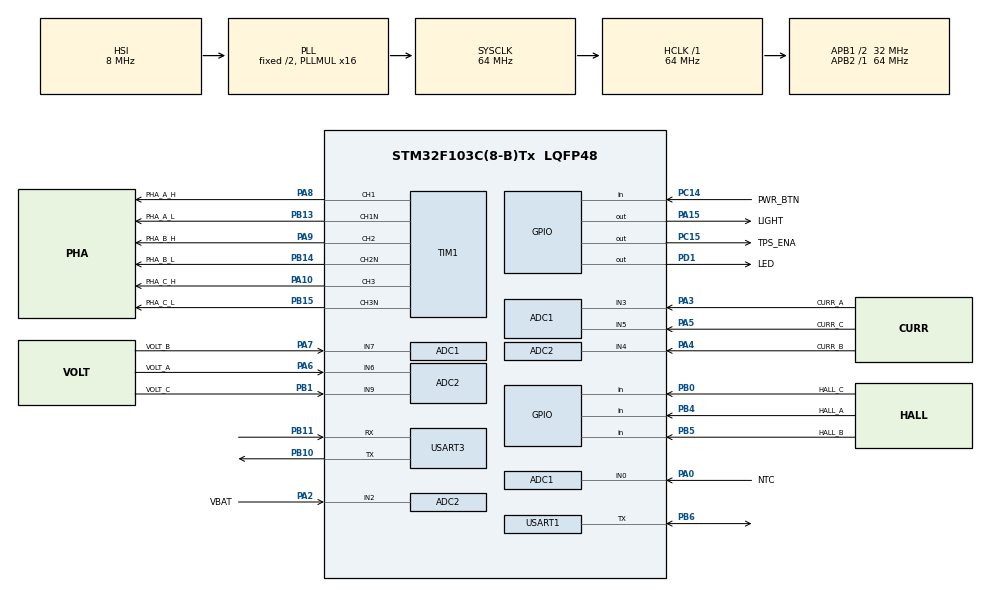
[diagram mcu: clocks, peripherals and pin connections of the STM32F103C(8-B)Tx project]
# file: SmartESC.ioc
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ADC1.Channel-10\#ChannelRegularConversion=ADC_CHANNEL_3
ADC1.Channel-11\#ChannelRegularConversion=ADC_CHANNEL_7
ADC1.Channel-12\#ChannelRegularConversion=ADC_CHANNEL_0
ADC1.Channel-13\#ChannelRegularConversion=ADC_CHANNEL_5
ADC1.ContinuousConvMode=DISABLE
ADC1.DiscontinuousConvMode=DISABLE
ADC1.EnableAnalogWatchDog=false
ADC1.EnableInjectedConversion=DISABLE
ADC1.EnableRegularConversion=ENABLE
ADC1.ExternalTrigConv=ADC_EXTERNALTRIGCONV_T2_CC2
ADC1.ExternalTrigInjecConv=ADC_INJECTED_SOFTWARE_START
ADC1.InjNumberOfConversion=4
ADC1.Mode=ADC_DUALMODE_REGSIMULT
ADC1.NbrOfConversion=4
ADC1.NbrOfConversionFlag=1
ADC1.Rank-10\#ChannelRegularConversion=1
ADC1.Rank-11\#ChannelRegularConversion=2
ADC1.Rank-12\#ChannelRegularConversion=3
ADC1.Rank-13\#ChannelRegularConversion=4
ADC1.SamplingTime-10\#ChannelRegularConversion=ADC_SAMPLETIME_7CYCLES_5
ADC1.SamplingTime-11\#ChannelRegularConversion=ADC_SAMPLETIME_1CYCLE_5
ADC1.SamplingTime-12\#ChannelRegularConversion=ADC_SAMPLETIME_1CYCLE_5
ADC1.SamplingTime-13\#ChannelRegularConversion=ADC_SAMPLETIME_1CYCLE_5
ADC1.master=1
ADC2.Channel-6\#ChannelRegularConversion=ADC_CHANNEL_4
ADC2.Channel-7\#ChannelRegularConversion=ADC_CHANNEL_6
ADC2.Channel-8\#ChannelRegularConversion=ADC_CHANNEL_9
ADC2.Channel-9\#ChannelRegularConversion=ADC_CHANNEL_2
ADC2.EnableAnalogWatchDog=false
ADC2.EnableInjectedConversion=DISABLE
ADC2.EnableRegularConversion=ENABLE
ADC2.InjNumberOfConversion=4
ADC2.Mode=ADC_DUALMODE_REGSIMULT
ADC2.NbrOfConversion=4
ADC2.NbrOfConversionFlag=1
ADC2.Rank-6\#ChannelRegularConversion=1
ADC2.Rank-7\#ChannelRegularConversion=2
ADC2.Rank-8\#ChannelRegularConversion=3
ADC2.Rank-9\#ChannelRegularConversion=4
ADC2.SamplingTime-6\#ChannelRegularConversion=ADC_SAMPLETIME_7CYCLES_5
ADC2.SamplingTime-7\#ChannelRegularConversion=ADC_SAMPLETIME_1CYCLE_5
ADC2.SamplingTime-8\#ChannelRegularConversion=ADC_SAMPLETIME_1CYCLE_5
ADC2.SamplingTime-9\#ChannelRegularConversion=ADC_SAMPLETIME_1CYCLE_5
Dma.ADC1.2.Direction=DMA_PERIPH_TO_MEMORY
Dma.ADC1.2.Instance=DMA1_Channel1
Dma.ADC1.2.MemDataAlignment=DMA_MDATAALIGN_HALFWORD
Dma.ADC1.2.MemInc=DMA_MINC_ENABLE
Dma.ADC1.2.Mode=DMA_NORMAL
Dma.ADC1.2.PeriphDataAlignment=DMA_PDATAALIGN_HALFWORD
Dma.ADC1.2.PeriphInc=DMA_PINC_DISABLE
Dma.ADC1.2.Priority=DMA_PRIORITY_LOW
Dma.Request0=USART3_RX
Dma.Request1=USART3_TX
Dma.Request2=ADC1
Dma.Request3=USART1_RX
Dma.Request4=USART1_TX
Dma.USART1_RX.3.Direction=DMA_PERIPH_TO_MEMORY
Dma.USART1_RX.3.Instance=DMA1_Channel5
Dma.USART1_RX.3.MemDataAlignment=DMA_MDATAALIGN_BYTE
Dma.USART1_RX.3.MemInc=DMA_MINC_ENABLE
Dma.USART1_RX.3.Mode=DMA_NORMAL
Dma.USART1_RX.3.PeriphDataAlignment=DMA_PDATAALIGN_BYTE
Dma.USART1_RX.3.PeriphInc=DMA_PINC_DISABLE
Dma.USART1_RX.3.Priority=DMA_PRIORITY_LOW
Dma.USART1_TX.4.Direction=DMA_MEMORY_TO_PERIPH
Dma.USART1_TX.4.Instance=DMA1_Channel4
Dma.USART1_TX.4.MemDataAlignment=DMA_MDATAALIGN_BYTE
Dma.USART1_TX.4.MemInc=DMA_MINC_ENABLE
Dma.USART1_TX.4.Mode=DMA_NORMAL
Dma.USART1_TX.4.PeriphDataAlignment=DMA_PDATAALIGN_BYTE
Dma.USART1_TX.4.PeriphInc=DMA_PINC_DISABLE
Dma.USART1_TX.4.Priority=DMA_PRIORITY_LOW
Dma.USART3_RX.0.Direction=DMA_PERIPH_TO_MEMORY
Dma.USART3_RX.0.Instance=DMA1_Channel3
Dma.USART3_RX.0.MemDataAlignment=DMA_MDATAALIGN_BYTE
Dma.USART3_RX.0.MemInc=DMA_MINC_ENABLE
Dma.USART3_RX.0.Mode=DMA_CIRCULAR
Dma.USART3_RX.0.PeriphDataAlignment=DMA_PDATAALIGN_BYTE
Dma.USART3_RX.0.PeriphInc=DMA_PINC_DISABLE
Dma.USART3_RX.0.Priority=DMA_PRIORITY_LOW
Dma.USART3_TX.1.Direction=DMA_MEMORY_TO_PERIPH
Dma.USART3_TX.1.Instance=DMA1_Channel2
Dma.USART3_TX.1.MemDataAlignment=DMA_MDATAALIGN_BYTE
Dma.USART3_TX.1.MemInc=DMA_MINC_ENABLE
Dma.USART3_TX.1.Mode=DMA_NORMAL
Dma.USART3_TX.1.PeriphDataAlignment=DMA_PDATAALIGN_BYTE
Dma.USART3_TX.1.PeriphInc=DMA_PINC_DISABLE
Dma.USART3_TX.1.Priority=DMA_PRIORITY_LOW
Mcu.Family=STM32F1
Mcu.Name=STM32F103C(8-B)Tx
Mcu.Package=LQFP48
NVIC.ADC1_2_IRQn=true\:0\:0\:false\:false\:true\:true\:true
NVIC.DMA1_Channel1_IRQn=true\:0\:0\:false\:false\:false\:false\:false
NVIC.DMA1_Channel2_IRQn=true\:0\:0\:false\:false\:true\:false\:true
NVIC.DMA1_Channel3_IRQn=true\:0\:0\:false\:false\:true\:false\:true
NVIC.DMA1_Channel4_IRQn=true\:0\:0\:false\:false\:true\:false\:true
NVIC.DMA1_Channel5_IRQn=true\:0\:0\:false\:false\:true\:false\:true
NVIC.PriorityGroup=NVIC_PRIORITYGROUP_4
NVIC.TIM4_IRQn=true\:0\:0\:false\:false\:true\:false\:true
NVIC.TimeBase=TIM4_IRQn
NVIC.TimeBaseIP=TIM4
NVIC.USART3_IRQn=true\:0\:0\:false\:false\:true\:true\:true
PA0-WKUP.GPIO_Label=NTC
PA0-WKUP.Signal=ADCx_IN0
PA10.GPIO_Label=PHA_C_H
PA10.Signal=S_TIM1_CH3
PA13.Mode=Serial_Wire
PA13.Signal=SYS_JTMS-SWDIO
PA14.Mode=Serial_Wire
PA14.Signal=SYS_JTCK-SWCLK
PA15.GPIO_Label=LIGHT
PA15.Signal=GPIO_Output
PA2.GPIO_Label=VBAT
PA2.Signal=ADCx_IN2
PA3.GPIO_Label=CURR_A
PA3.Signal=ADCx_IN3
PA4.GPIO_Label=CURR_B
PA4.Signal=ADCx_IN4
PA5.GPIO_Label=CURR_C
PA5.Signal=ADCx_IN5
PA6.GPIO_Label=VOLT_A
PA6.Signal=ADCx_IN6
PA7.GPIO_Label=VOLT_B
PA7.Signal=ADCx_IN7
PA8.GPIO_Label=PHA_A_H
PA8.Signal=S_TIM1_CH1
PA9.GPIO_Label=PHA_B_H
PA9.Signal=S_TIM1_CH2
PB0.GPIO_Label=HALL_C
PB0.Signal=GPIO_Input
PB1.GPIO_Label=VOLT_C
PB1.Signal=ADCx_IN9
PB10.Mode=Asynchronous
PB10.Signal=USART3_TX
PB11.Mode=Asynchronous
PB11.Signal=USART3_RX
PB13.GPIO_Label=PHA_A_L
PB13.Mode=PWM Generation1 CH1 CH1N
PB13.Signal=TIM1_CH1N
PB14.GPIO_Label=PHA_B_L
PB14.Mode=PWM Generation2 CH2 CH2N
PB14.Signal=TIM1_CH2N
PB15.GPIO_Label=PHA_C_L
PB15.Mode=PWM Generation3 CH3 CH3N
PB15.Signal=TIM1_CH3N
PB4.GPIO_Label=HALL_A
PB4.Signal=GPIO_Input
PB5.GPIO_Label=HALL_B
PB5.Signal=GPIO_Input
PB6.Mode=Half_duplex(single_wire_mode)
PB6.Signal=USART1_TX
PC14-OSC32_IN.GPIO_Label=PWR_BTN
PC14-OSC32_IN.Signal=GPIO_Input
PC15-OSC32_OUT.GPIO_Label=TPS_ENA
PC15-OSC32_OUT.PinState=GPIO_PIN_SET
PC15-OSC32_OUT.Signal=GPIO_Output
PD1-OSC_OUT.GPIO_Label=LED
PD1-OSC_OUT.Signal=GPIO_Output
ProjectManager.HeapSize=0x200
ProjectManager.StackSize=0x400
ProjectManager.TargetToolchain=STM32CubeIDE
RCC.ADCPresc=RCC_ADCPCLK2_DIV6
RCC.AHBFreq_Value=64000000
RCC.APB1CLKDivider=RCC_HCLK_DIV2
RCC.APB1Freq_Value=32000000
RCC.APB1TimFreq_Value=64000000
RCC.APB2Freq_Value=64000000
RCC.APB2TimFreq_Value=64000000
RCC.HCLKFreq_Value=64000000
RCC.PLLMUL=RCC_PLL_MUL16
RCC.SYSCLKFreq_VALUE=64000000
RCC.SYSCLKSource=RCC_SYSCLKSOURCE_PLLCLK
RCC.USBFreq_Value=64000000
SH.ADCx_IN0.0=ADC1_IN0,IN0
SH.ADCx_IN2.0=ADC1_IN2
SH.ADCx_IN2.1=ADC2_IN2,IN2
SH.ADCx_IN3.0=ADC1_IN3,IN3
SH.ADCx_IN3.1=ADC2_IN3
SH.ADCx_IN4.0=ADC1_IN4
SH.ADCx_IN4.1=ADC2_IN4,IN4
SH.ADCx_IN5.0=ADC1_IN5,IN5
SH.ADCx_IN6.0=ADC1_IN6
SH.ADCx_IN6.1=ADC2_IN6,IN6
SH.ADCx_IN7.0=ADC2_IN7
SH.ADCx_IN7.1=ADC1_IN7,IN7
SH.ADCx_IN9.0=ADC2_IN9,IN9
SH.S_TIM1_CH1.0=TIM1_CH1,PWM Generation1 CH1 CH1N
SH.S_TIM1_CH2.0=TIM1_CH2,PWM Generation2 CH2 CH2N
SH.S_TIM1_CH3.0=TIM1_CH3,PWM Generation3 CH3 CH3N
TIM1.Channel-PWM\ Generation1\ CH1\ CH1N=TIM_CHANNEL_1
TIM1.Channel-PWM\ Generation2\ CH2\ CH2N=TIM_CHANNEL_2
TIM1.Channel-PWM\ Generation3\ CH3\ CH3N=TIM_CHANNEL_3
TIM1.ClockDivision=TIM_CLOCKDIVISION_DIV1
TIM1.CounterMode=TIM_COUNTERMODE_CENTERALIGNED1
TIM1.DeadTime=DEAD_TIME
TIM1.OCIdleState_1=TIM_OCIDLESTATE_SET
TIM1.OCIdleState_2=TIM_OCIDLESTATE_SET
TIM1.OCIdleState_3=TIM_OCIDLESTATE_SET
TIM1.OCNIdleState_1=TIM_OCNIDLESTATE_SET
TIM1.OCNIdleState_2=TIM_OCNIDLESTATE_SET
TIM1.OCNIdleState_3=TIM_OCNIDLESTATE_SET
TIM1.OCNPolarity_1=TIM_OCNPOLARITY_HIGH
TIM1.OCNPolarity_2=TIM_OCNPOLARITY_HIGH
TIM1.OCNPolarity_3=TIM_OCNPOLARITY_HIGH
TIM1.OffStateIDLEMode=TIM_OSSI_ENABLE
TIM1.OffStateRunMode=TIM_OSSR_ENABLE
TIM1.Period=64000000 / 2 / PWM_FREQ
TIM1.TIM_MasterOutputTrigger=TIM_TRGO_ENABLE
TIM1.TIM_MasterSlaveMode=TIM_MASTERSLAVEMODE_DISABLE
TIM2.AutoReloadPreload=TIM_AUTORELOAD_PRELOAD_ENABLE
TIM2.Channel-Output\ Compare2\ No\ Output=TIM_CHANNEL_2
TIM2.ClockDivision=TIM_CLOCKDIVISION_DIV1
TIM2.CounterMode=TIM_COUNTERMODE_CENTERALIGNED1
TIM2.OC2Preload=DISABLE
TIM2.OCMode_2=TIM_OCMODE_TOGGLE
TIM2.OCPolarity_2=TIM_OCPOLARITY_HIGH
TIM2.Period=2000
TIM2.TIM_MasterOutputTrigger=TIM_TRGO_OC2REF
TIM2.TIM_MasterSlaveMode=TIM_MASTERSLAVEMODE_ENABLE
TIM3.AutoReloadPreload=TIM_AUTORELOAD_PRELOAD_ENABLE
TIM3.ClockDivision=TIM_CLOCKDIVISION_DIV1
TIM3.Period=64000000 / 2 / PWM_FREQ
TIM3.TIM_MasterOutputTrigger=TIM_TRGO_OC2REF
TIM3.TIM_MasterSlaveMode=TIM_MASTERSLAVEMODE_ENABLE
USART1.VirtualMode=VM_ASYNC
USART3.VirtualMode=VM_ASYNC
VP_SYS_VS_tim4.Mode=TIM4
VP_TIM1_VS_ClockSourceINT.Mode=Internal
VP_TIM2_VS_ClockSourceINT.Mode=Internal
VP_TIM2_VS_ClockSourceITR.Mode=TriggerSource_ITR0
VP_TIM2_VS_ControllerModeGated.Mode=Gated Mode
VP_TIM2_VS_no_output2.Mode=Output Compare2 No Output
VP_TIM3_VS_ClockSourceINT.Mode=Internal
board=custom

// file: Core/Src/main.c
/* USER CODE BEGIN Header */
/**
 ******************************************************************************
 * @file           : main.c
 * @brief          : Main program body
 ******************************************************************************
 * @attention
 *
 * <h2><center>&copy; Copyright (c) 2020 STMicroelectronics.
 * All rights reserved.</center></h2>
 *
 * This software component is licensed by ST under Ultimate Liberty license
 * SLA0044, the "License"; You may not use this file except in compliance with
 * the License. You may obtain a copy of the License at:
 *                             www.st.com/SLA0044
 *
 ******************************************************************************
 */
/* USER CODE END Header */
#include "main.h"

/* USER CODE BEGIN Includes */
#include <stdlib.h> // for abs()
#include "stm32f1xx_hal.h"
#include "defines.h"
#include "config.h"
#include "util.h"
#include "BLDC_controller.h"      /* BLDC's header file */
#include "rtwtypes.h"
#include "bldc.h"
#include "debug.h"
#include "ntc.h"

/* USER CODE END Includes */

ADC_HandleTypeDef hadc1;
ADC_HandleTypeDef hadc2;
DMA_HandleTypeDef hdma_adc1;

TIM_HandleTypeDef htim1;
TIM_HandleTypeDef htim2;
TIM_HandleTypeDef htim3;

UART_HandleTypeDef huart1;
UART_HandleTypeDef huart3;
DMA_HandleTypeDef hdma_usart1_rx;
DMA_HandleTypeDef hdma_usart1_tx;
DMA_HandleTypeDef hdma_usart3_rx;
DMA_HandleTypeDef hdma_usart3_tx;

void SystemClock_Config(void);
static void MX_GPIO_Init(void);
static void MX_DMA_Init(void);
static void MX_ADC1_Init(void);
static void MX_ADC2_Init(void);
static void MX_TIM1_Init(void);
static void MX_USART3_UART_Init(void);
static void MX_TIM3_Init(void);
static void MX_USART1_UART_Init(void);
static void MX_TIM2_Init(void);

/* USER CODE BEGIN 0 */

void SystemClock_Config(void);

//------------------------------------------------------------------------
// Global variables set externally
//------------------------------------------------------------------------
extern TIM_HandleTypeDef htim_left;
extern TIM_HandleTypeDef htim_right;
extern ADC_HandleTypeDef hadc1;
extern ADC_HandleTypeDef hadc2;
extern UART_HandleTypeDef huart3;

// Matlab defines - from auto-code generation
//---------------
extern P rtP_Left; /* Block parameters (auto storage) */
extern ExtY rtY_Motor; /* External outputs */
//---------------

volatile adc_buf_t adc_buffer;

extern int16_t cmdBrake;                // normalized input value. -1000 to 1000
extern int16_t cmdThrottle;             // normalized input value. -1000 to 1000
extern int16_t inputBrake;                  // Non normalized input value
extern int16_t inputThrottle;                  // Non normalized input value

extern int16_t speedAvg;                // Average measured speed
extern int16_t speedAvgAbs;             // Average measured speed in absolute
extern uint8_t timeoutFlagADC; // Timeout Flag for for ADC Protection: 0 = OK, 1 = Problem detected (line disconnected or wrong ADC data)
extern uint8_t timeoutFlagSerial; // Timeout Flag for Rx Serial command: 0 = OK, 1 = Problem detected (line disconnected or wrong Rx data)

extern volatile int pwm;         // global variable for pwm left. -1000 to 1000

extern uint8_t enable;                  // global variable for motor enable

extern int16_t batVoltage;              // global variable for battery voltage

extern analog_t analog;
extern int16_t curr_a_cnt_max;

//------------------------------------------------------------------------
// Global variables set here in main.c
//------------------------------------------------------------------------

//------------------------------------------------------------------------
// Local variables
//------------------------------------------------------------------------

static int16_t throttle;              // local variable for speed. -1000 to 1000
static int16_t brake;              // local variable for steering. -1000 to 1000
static int16_t brakeRateFixdt; // local fixed-point variable for steering rate limiter
static int16_t speedRateFixdt; // local fixed-point variable for speed rate limiter
static int32_t brakeFixdt; // local fixed-point variable for steering low-pass filter
static int32_t speedFixdt; // local fixed-point variable for speed low-pass filter

static uint16_t speedBlend; // Calculate speed Blend, a number between [0, 1] in fixdt(0,16,15)

static uint32_t main_loop_counter;
volatile uint32_t timeoutCnt = 0; // Timeout counter for the General timeout (PPM, PWM, Nunchuck)

int16_t speedMotor = 0;
int16_t lastSpeedMotor = 0;

int32_t board_temp_adcFixdt; // Fixed-point filter output initialized with current ADC converted to fixed-point
int16_t board_temp_adcFilt;
int16_t board_temp_deg_c;

#define ADC_OFFSET_READ 580
uint32_t tim2_ccr2 = ADC_OFFSET_READ;
uint32_t old_tim2_ccr2 = ADC_OFFSET_READ;

uint16_t spinValue = 0;

/* USER CODE END 0 */

int main(void)
{

  /* MCU Configuration--------------------------------------------------------*/

  /* Reset of all peripherals, Initializes the Flash interface and the Systick. */
  HAL_Init();

  /* USER CODE BEGIN Init */

	__HAL_RCC_AFIO_CLK_ENABLE();
	HAL_NVIC_SetPriorityGrouping(NVIC_PRIORITYGROUP_4);
	/* System interrupt init*/
	/* MemoryManagement_IRQn interrupt configuration */
	HAL_NVIC_SetPriority(MemoryManagement_IRQn, 0, 0);
	/* BusFault_IRQn interrupt configuration */
	HAL_NVIC_SetPriority(BusFault_IRQn, 0, 0);
	/* UsageFault_IRQn interrupt configuration */
	HAL_NVIC_SetPriority(UsageFault_IRQn, 0, 0);
	/* SVCall_IRQn interrupt configuration */
	HAL_NVIC_SetPriority(SVCall_IRQn, 0, 0);
	/* DebugMonitor_IRQn interrupt configuration */
	HAL_NVIC_SetPriority(DebugMonitor_IRQn, 0, 0);
	/* PendSV_IRQn interrupt configuration */
	HAL_NVIC_SetPriority(PendSV_IRQn, 0, 0);
	/* SysTick_IRQn interrupt configuration */
	HAL_NVIC_SetPriority(SysTick_IRQn, 0, 0);

  /* USER CODE END Init */

  /* Configure the system clock */
  SystemClock_Config();

  /* USER CODE BEGIN SysInit */

	__HAL_RCC_DMA1_CLK_DISABLE();

  /* USER CODE END SysInit */

  /* Initialize all configured peripherals */
  MX_GPIO_Init();
  MX_DMA_Init();
  MX_ADC1_Init();
  MX_ADC2_Init();
  MX_TIM1_Init();
  MX_USART3_UART_Init();
  MX_TIM3_Init();
  MX_USART1_UART_Init();
  MX_TIM2_Init();
  /* USER CODE BEGIN 2 */

	//OverclockADC();
	BLDC_Init();        // BLDC Controller Init
	HAL_GPIO_WritePin(LED_GPIO_Port, LED_Pin, 1);

#if KX
  HAL_GPIO_WritePin(OFF_PORT, OFF_PIN, GPIO_PIN_SET);   // Activate Latch
#endif

	Input_Lim_Init();   // Input Limitations Init
	Input_Init();       // Input Init

	HAL_ADC_Start(&hadc1);
	HAL_ADC_Start(&hadc2);

#if KX
  poweronMelody();
  HAL_GPIO_WritePin(LED_PORT, LED_PIN, GPIO_PIN_SET);
#endif

	board_temp_adcFixdt = adc_buffer.temp << 16; // Fixed-point filter output initialized with current ADC converted to fixed-point
	board_temp_adcFilt = adc_buffer.temp;

  /* USER CODE END 2 */

  /* Infinite loop */
  /* USER CODE BEGIN WHILE */
	while (1) {

		HAL_Delay(DELAY_IN_MAIN_LOOP);        //delay in ms

#if TEST_READ_UART_COMMANDS
		readCommand();                        // Read Command: cmd1, cmd2
#endif

#if TEST_SHORT_SPIN
#define INCREMENT 10
		if (spinValue > 2000) {
			cmdThrottle = 1000 - (spinValue - 2000);
			spinValue = spinValue - INCREMENT;
		}
		else if (spinValue > 1000) {
			cmdThrottle = 1000;
			spinValue = spinValue - INCREMENT;
		}
		else if (spinValue > 0) {
			cmdThrottle = spinValue;
			spinValue = spinValue - INCREMENT;
		}
#endif

#if TEST_AUTOSTART
		if (main_loop_counter < 500) {
			cmdThrottle = main_loop_counter;
		}
		else
		{
			cmdThrottle =  500;
		}
#endif

#if TEST_LOOP

		if (main_loop_counter % LOOP_INC < LOOP_INC / 3) {
			cmdThrottle++;
		} else if (main_loop_counter % LOOP_INC < LOOP_INC * 2 / 3) {

		} else {
			cmdThrottle--;
		}
#endif

		calcAvgSpeed(); // Calculate average measured speed: speedAvg, speedAvgAbs

		// ####### MOTOR ENABLING: Only if the initial input is very small (for SAFETY) #######
		if (enable == 0 && (!rtY_Motor.z_errCode)
				&& (cmdBrake > -50 && cmdBrake < 50)) {
			brakeFixdt = speedFixdt = 0;      // reset filters
			enable = 1;                       // enable motors
		}

		speedBlend = (uint16_t) (((CLAMP(speedAvgAbs,10,60) - 10) << 15) / 50); // speedBlend [0,1] is within [10 rpm, 60rpm]

#ifdef STANDSTILL_HOLD_ENABLE
		standstillHold(); // Apply Standstill Hold functionality. Only available and makes sense for VOLTAGE or TORQUE Mode
#endif

		if (cmdBrake > 30) { // If Brake pedal (cmd1) is pressed, bring to 0 also the Throttle pedal (cmd2) to avoid "Double pedal" driving
			cmdThrottle = (int16_t) ((cmdThrottle * speedBlend) >> 15);
			cruiseControl((uint8_t) rtP_Left.b_cruiseCtrlEna); // Cruise control deactivated by Brake pedal if it was active
		}

#ifdef ELECTRIC_BRAKE_ENABLE
		electricBrake(speedBlend); // Apply Electric Brake. Only available and makes sense for TORQUE Mode
#endif

		if (speedAvg > 0) { // Make sure the Brake pedal is opposite to the direction of motion AND it goes to 0 as we reach standstill (to avoid Reverse driving by Brake pedal)
			cmdBrake = (int16_t) ((cmdBrake * speedBlend) >> 15);
		} else {
			cmdBrake = (int16_t) ((-cmdBrake * speedBlend) >> 15);
		}

		// ####### LOW-PASS FILTER #######
		rateLimiter16(cmdBrake, RATE, &brakeRateFixdt);
		rateLimiter16(cmdThrottle, RATE, &speedRateFixdt);
		filtLowPass32(brakeRateFixdt >> 4, FILTER, &brakeFixdt);
		filtLowPass32(speedRateFixdt >> 4, FILTER, &speedFixdt);
		brake = (int16_t) (brakeFixdt >> 16);  // convert fixed-point to integer
		throttle = (int16_t) (speedFixdt >> 16); // convert fixed-point to integer

		// ####### MIXER for electric braking #######
		mixerFcn(throttle << 4, brake << 4, &speedMotor); // This function implements the equations above

		// ####### SET OUTPUTS (if the target change is less than +/- 100) #######
		if (speedMotor > lastSpeedMotor - 100
				&& speedMotor < lastSpeedMotor + 100) {
			pwm = speedMotor;
		}

		// ####### CALC BOARD TEMPERATURE #######
		filtLowPass32(adc_buffer.temp, TEMP_FILT_COEF, &board_temp_adcFixdt);
		board_temp_adcFilt = (int16_t) (board_temp_adcFixdt >> 16); // convert fixed-point to integer
		board_temp_deg_c = NTC_ADC2Temperature(board_temp_adcFilt);

		// ####### FEEDBACK SERIAL OUT TO DISPLAY #######
		if (main_loop_counter % 4 == 0) {  // Send data periodically every 20 ms
			usart_send_from_esc_to_display();
		}

	    // ####### POWEROFF BY POWER-BUTTON #######
	    poweroffPressCheck();

#if KX
	    // ####### BEEP AND EMERGENCY POWEROFF #######
	    if ((TEMP_POWEROFF_ENABLE && board_temp_deg_c >= TEMP_POWEROFF && speedAvgAbs < 20) || (batVoltage < BAT_DEAD && speedAvgAbs < 20)) {  // poweroff before mainboard burns OR low bat 3
	      poweroff();
	    } else if (rtY_Motor.z_errCode || rtY_Right.z_errCode) {                                           // 1 beep (low pitch): Motor error, disable motors
	      enable = 0;
	      beepCount(1, 24, 1);
	    } else if (timeoutFlagADC) {                                                                      // 2 beeps (low pitch): ADC timeout
	      beepCount(2, 24, 1);
	    } else if (timeoutFlagSerial) {                                                                   // 3 beeps (low pitch): Serial timeout
	      beepCount(3, 24, 1);
	    } else if (timeoutCnt > TIMEOUT) {                                                                // 4 beeps (low pitch): General timeout (PPM, PWM, Nunchuck)
	      beepCount(4, 24, 1);
	    } else if (TEMP_WARNING_ENABLE && board_temp_deg_c >= TEMP_WARNING) {                             // 5 beeps (low pitch): Mainboard temperature warning
	      beepCount(5, 24, 1);
	    } else if (BAT_LVL1_ENABLE && batVoltage < BAT_LVL1) {                                            // 1 beep fast (medium pitch): Low bat 1
	      beepCount(0, 10, 6);
	    } else if (BAT_LVL2_ENABLE && batVoltage < BAT_LVL2) {                                            // 1 beep slow (medium pitch): Low bat 2
	      beepCount(0, 10, 30);
	    } else if (BEEPS_BACKWARD && ((throttle < -50 && speedAvg < 0) || MultipleTapBrake.b_multipleTap)) { // 1 beep fast (high pitch): Backward spinning motors
	      beepCount(0, 5, 1);
	      backwardDrive = 1;
	    } else {  // do not beep
	      beepCount(0, 0, 0);
	      backwardDrive = 0;
	    }

	    // ####### INACTIVITY TIMEOUT #######
	    if (abs(speedMotor) > 50 || abs(speedR) > 50) {
	      inactivity_timeout_counter = 0;
	    } else {
	      inactivity_timeout_counter++;
	    }
	    if (inactivity_timeout_counter > (INACTIVITY_TIMEOUT * 60 * 1000) / (DELAY_IN_MAIN_LOOP + 1)) {  // rest of main loop needs maybe 1ms
	      poweroff();
	    }
#endif

#if DEBUG_LED == MAIN_LOOP
		HAL_GPIO_WritePin(LED_GPIO_Port, LED_Pin, main_loop_counter % 100 > 50);
#endif

		if (tim2_ccr2 != old_tim2_ccr2) {
			TIM2->CCR2 = tim2_ccr2;
			old_tim2_ccr2 = tim2_ccr2;
		}

		// Update main loop states
		lastSpeedMotor = speedMotor;
		main_loop_counter++;
		timeoutCnt++;

		//HAL_GPIO_WritePin(LED_GPIO_Port, LED_Pin,				(main_loop_counter % 400 > 200));

    /* USER CODE END WHILE */

	}
}

void SystemClock_Config(void)
{
  RCC_OscInitTypeDef RCC_OscInitStruct = {0};
  RCC_ClkInitTypeDef RCC_ClkInitStruct = {0};
  RCC_PeriphCLKInitTypeDef PeriphClkInit = {0};

  /** Initializes the RCC Oscillators according to the specified parameters
  * in the RCC_OscInitTypeDef structure.
  */
  RCC_OscInitStruct.OscillatorType = RCC_OSCILLATORTYPE_HSI;
  RCC_OscInitStruct.HSIState = RCC_HSI_ON;
  RCC_OscInitStruct.HSICalibrationValue = RCC_HSICALIBRATION_DEFAULT;
  RCC_OscInitStruct.PLL.PLLState = RCC_PLL_ON;
  RCC_OscInitStruct.PLL.PLLSource = RCC_PLLSOURCE_HSI_DIV2;
  RCC_OscInitStruct.PLL.PLLMUL = RCC_PLL_MUL16;
  if (HAL_RCC_OscConfig(&RCC_OscInitStruct) != HAL_OK)
  {
    Error_Handler();
  }
  /** Initializes the CPU, AHB and APB buses clocks
  */
  RCC_ClkInitStruct.ClockType = RCC_CLOCKTYPE_HCLK|RCC_CLOCKTYPE_SYSCLK
                              |RCC_CLOCKTYPE_PCLK1|RCC_CLOCKTYPE_PCLK2;
  RCC_ClkInitStruct.SYSCLKSource = RCC_SYSCLKSOURCE_PLLCLK;
  RCC_ClkInitStruct.AHBCLKDivider = RCC_SYSCLK_DIV1;
  RCC_ClkInitStruct.APB1CLKDivider = RCC_HCLK_DIV2;
  RCC_ClkInitStruct.APB2CLKDivider = RCC_HCLK_DIV1;

  if (HAL_RCC_ClockConfig(&RCC_ClkInitStruct, FLASH_LATENCY_2) != HAL_OK)
  {
    Error_Handler();
  }
  PeriphClkInit.PeriphClockSelection = RCC_PERIPHCLK_ADC;
  PeriphClkInit.AdcClockSelection = RCC_ADCPCLK2_DIV6;
  if (HAL_RCCEx_PeriphCLKConfig(&PeriphClkInit) != HAL_OK)
  {
    Error_Handler();
  }
}

static void MX_ADC1_Init(void)
{

  ADC_MultiModeTypeDef multimode = {0};
  ADC_ChannelConfTypeDef sConfig = {0};

  /** Common config
  */
  hadc1.Instance = ADC1;
  hadc1.Init.ScanConvMode = ADC_SCAN_ENABLE;
  hadc1.Init.ContinuousConvMode = DISABLE;
  hadc1.Init.DiscontinuousConvMode = DISABLE;
  hadc1.Init.ExternalTrigConv = ADC_EXTERNALTRIGCONV_T2_CC2;
  hadc1.Init.DataAlign = ADC_DATAALIGN_RIGHT;
  hadc1.Init.NbrOfConversion = 4;
  if (HAL_ADC_Init(&hadc1) != HAL_OK)
  {
    Error_Handler();
  }
  /** Configure the ADC multi-mode
  */
  multimode.Mode = ADC_DUALMODE_REGSIMULT;
  if (HAL_ADCEx_MultiModeConfigChannel(&hadc1, &multimode) != HAL_OK)
  {
    Error_Handler();
  }
  /** Configure Regular Channel
  */
  sConfig.Channel = ADC_CHANNEL_3;
  sConfig.Rank = ADC_REGULAR_RANK_1;
  sConfig.SamplingTime = ADC_SAMPLETIME_7CYCLES_5;
  if (HAL_ADC_ConfigChannel(&hadc1, &sConfig) != HAL_OK)
  {
    Error_Handler();
  }
  /** Configure Regular Channel
  */
  sConfig.Channel = ADC_CHANNEL_5;
  sConfig.Rank = ADC_REGULAR_RANK_2;
  sConfig.SamplingTime = ADC_SAMPLETIME_1CYCLE_5;
  if (HAL_ADC_ConfigChannel(&hadc1, &sConfig) != HAL_OK)
  {
    Error_Handler();
  }
  /** Configure Regular Channel
  */
  sConfig.Channel = ADC_CHANNEL_7;
  sConfig.Rank = ADC_REGULAR_RANK_3;
  if (HAL_ADC_ConfigChannel(&hadc1, &sConfig) != HAL_OK)
  {
    Error_Handler();
  }
  /** Configure Regular Channel
  */
  sConfig.Channel = ADC_CHANNEL_0;
  sConfig.Rank = ADC_REGULAR_RANK_4;
  if (HAL_ADC_ConfigChannel(&hadc1, &sConfig) != HAL_OK)
  {
    Error_Handler();
  }
  /* USER CODE BEGIN ADC1_Init 2 */

	hadc1.Instance->CR2 |= ADC_CR2_DMA | ADC_CR2_TSVREFE;
	__HAL_ADC_ENABLE(&hadc1);

	DMA1_Channel1->CCR = 0;
	DMA1_Channel1->CNDTR = 4; // KX : 5 in original project - number of data in DMA channel
	DMA1_Channel1->CPAR = (uint32_t) &(ADC1->DR);
	DMA1_Channel1->CMAR = (uint32_t) &adc_buffer;
	DMA1_Channel1->CCR = DMA_CCR_MSIZE_1 | DMA_CCR_PSIZE_1 | DMA_CCR_MINC
			| DMA_CCR_CIRC | DMA_CCR_TCIE;
	DMA1_Channel1->CCR |= DMA_CCR_EN;

  /* USER CODE END ADC1_Init 2 */

}

static void MX_ADC2_Init(void)
{

  ADC_ChannelConfTypeDef sConfig = {0};

  /** Common config
  */
  hadc2.Instance = ADC2;
  hadc2.Init.ScanConvMode = ADC_SCAN_ENABLE;
  hadc2.Init.ContinuousConvMode = DISABLE;
  hadc2.Init.DiscontinuousConvMode = DISABLE;
  hadc2.Init.ExternalTrigConv = ADC_SOFTWARE_START;
  hadc2.Init.DataAlign = ADC_DATAALIGN_RIGHT;
  hadc2.Init.NbrOfConversion = 4;
  if (HAL_ADC_Init(&hadc2) != HAL_OK)
  {
    Error_Handler();
  }
  /** Configure Regular Channel
  */
  sConfig.Channel = ADC_CHANNEL_4;
  sConfig.Rank = ADC_REGULAR_RANK_1;
  sConfig.SamplingTime = ADC_SAMPLETIME_7CYCLES_5;
  if (HAL_ADC_ConfigChannel(&hadc2, &sConfig) != HAL_OK)
  {
    Error_Handler();
  }
  /** Configure Regular Channel
  */
  sConfig.Channel = ADC_CHANNEL_6;
  sConfig.Rank = ADC_REGULAR_RANK_2;
  sConfig.SamplingTime = ADC_SAMPLETIME_1CYCLE_5;
  if (HAL_ADC_ConfigChannel(&hadc2, &sConfig) != HAL_OK)
  {
    Error_Handler();
  }
  /** Configure Regular Channel
  */
  sConfig.Channel = ADC_CHANNEL_9;
  sConfig.Rank = ADC_REGULAR_RANK_3;
  if (HAL_ADC_ConfigChannel(&hadc2, &sConfig) != HAL_OK)
  {
    Error_Handler();
  }
  /** Configure Regular Channel
  */
  sConfig.Channel = ADC_CHANNEL_2;
  sConfig.Rank = ADC_REGULAR_RANK_4;
  if (HAL_ADC_ConfigChannel(&hadc2, &sConfig) != HAL_OK)
  {
    Error_Handler();
  }
  /* USER CODE BEGIN ADC2_Init 2 */

	hadc2.Instance->CR2 |= ADC_CR2_DMA;
	__HAL_ADC_ENABLE(&hadc2);

  /* USER CODE END ADC2_Init 2 */

}

static void MX_TIM1_Init(void)
{

  TIM_ClockConfigTypeDef sClockSourceConfig = {0};
  TIM_MasterConfigTypeDef sMasterConfig = {0};
  TIM_OC_InitTypeDef sConfigOC = {0};
  TIM_BreakDeadTimeConfigTypeDef sBreakDeadTimeConfig = {0};

  htim1.Instance = TIM1;
  htim1.Init.Prescaler = 0;
  htim1.Init.CounterMode = TIM_COUNTERMODE_CENTERALIGNED1;
  htim1.Init.Period = 64000000 / 2 / PWM_FREQ;
  htim1.Init.ClockDivision = TIM_CLOCKDIVISION_DIV1;
  htim1.Init.RepetitionCounter = 0;
  htim1.Init.AutoReloadPreload = TIM_AUTORELOAD_PRELOAD_DISABLE;
  if (HAL_TIM_Base_Init(&htim1) != HAL_OK)
  {
    Error_Handler();
  }
  sClockSourceConfig.ClockSource = TIM_CLOCKSOURCE_INTERNAL;
  if (HAL_TIM_ConfigClockSource(&htim1, &sClockSourceConfig) != HAL_OK)
  {
    Error_Handler();
  }
  if (HAL_TIM_PWM_Init(&htim1) != HAL_OK)
  {
    Error_Handler();
  }
  sMasterConfig.MasterOutputTrigger = TIM_TRGO_ENABLE;
  sMasterConfig.MasterSlaveMode = TIM_MASTERSLAVEMODE_DISABLE;
  if (HAL_TIMEx_MasterConfigSynchronization(&htim1, &sMasterConfig) != HAL_OK)
  {
    Error_Handler();
  }
  sConfigOC.OCMode = TIM_OCMODE_PWM1;
  sConfigOC.Pulse = 0;
  sConfigOC.OCPolarity = TIM_OCPOLARITY_HIGH;
  sConfigOC.OCNPolarity = TIM_OCNPOLARITY_HIGH;
  sConfigOC.OCFastMode = TIM_OCFAST_DISABLE;
  sConfigOC.OCIdleState = TIM_OCIDLESTATE_SET;
  sConfigOC.OCNIdleState = TIM_OCNIDLESTATE_SET;
  if (HAL_TIM_PWM_ConfigChannel(&htim1, &sConfigOC, TIM_CHANNEL_1) != HAL_OK)
  {
    Error_Handler();
  }
  if (HAL_TIM_PWM_ConfigChannel(&htim1, &sConfigOC, TIM_CHANNEL_2) != HAL_OK)
  {
    Error_Handler();
  }
  if (HAL_TIM_PWM_ConfigChannel(&htim1, &sConfigOC, TIM_CHANNEL_3) != HAL_OK)
  {
    Error_Handler();
  }
  sBreakDeadTimeConfig.OffStateRunMode = TIM_OSSR_ENABLE;
  sBreakDeadTimeConfig.OffStateIDLEMode = TIM_OSSI_ENABLE;
  sBreakDeadTimeConfig.LockLevel = TIM_LOCKLEVEL_OFF;
  sBreakDeadTimeConfig.DeadTime = DEAD_TIME;
  sBreakDeadTimeConfig.BreakState = TIM_BREAK_DISABLE;
  sBreakDeadTimeConfig.BreakPolarity = TIM_BREAKPOLARITY_HIGH;
  sBreakDeadTimeConfig.AutomaticOutput = TIM_AUTOMATICOUTPUT_DISABLE;
  if (HAL_TIMEx_ConfigBreakDeadTime(&htim1, &sBreakDeadTimeConfig) != HAL_OK)
  {
    Error_Handler();
  }
  /* USER CODE BEGIN TIM1_Init 2 */

	HAL_TIM_PWM_Start(&htim1, TIM_CHANNEL_1);
	HAL_TIM_PWM_Start(&htim1, TIM_CHANNEL_2);
	HAL_TIM_PWM_Start(&htim1, TIM_CHANNEL_3);
	HAL_TIM_PWM_Start(&htim1, TIM_CHANNEL_4);

	HAL_TIMEx_PWMN_Start(&htim1, TIM_CHANNEL_1);
	HAL_TIMEx_PWMN_Start(&htim1, TIM_CHANNEL_2);
	HAL_TIMEx_PWMN_Start(&htim1, TIM_CHANNEL_3);
	HAL_TIMEx_PWMN_Start(&htim1, TIM_CHANNEL_4);

	// Start counting >0 to effectively offset timers by the time it takes for one ADC conversion to complete.
	// This method allows that the Phase currents ADC measurements are properly aligned with LOW-FET ON region for both motors
	//TIM1->CNT = 20;    // ADC_TOTAL_CONV_TIME / 2;

	htim1.Instance->RCR = 1;

	__HAL_TIM_ENABLE(&htim1);

  /* USER CODE END TIM1_Init 2 */
  HAL_TIM_MspPostInit(&htim1);

}

static void MX_TIM2_Init(void)
{

  TIM_ClockConfigTypeDef sClockSourceConfig = {0};
  TIM_SlaveConfigTypeDef sSlaveConfig = {0};
  TIM_MasterConfigTypeDef sMasterConfig = {0};
  TIM_OC_InitTypeDef sConfigOC = {0};

  htim2.Instance = TIM2;
  htim2.Init.Prescaler = 0;
  htim2.Init.CounterMode = TIM_COUNTERMODE_CENTERALIGNED1;
  htim2.Init.Period = 2000;
  htim2.Init.ClockDivision = TIM_CLOCKDIVISION_DIV1;
  htim2.Init.AutoReloadPreload = TIM_AUTORELOAD_PRELOAD_ENABLE;
  if (HAL_TIM_Base_Init(&htim2) != HAL_OK)
  {
    Error_Handler();
  }
  sClockSourceConfig.ClockSource = TIM_CLOCKSOURCE_INTERNAL;
  if (HAL_TIM_ConfigClockSource(&htim2, &sClockSourceConfig) != HAL_OK)
  {
    Error_Handler();
  }
  if (HAL_TIM_OC_Init(&htim2) != HAL_OK)
  {
    Error_Handler();
  }
  sSlaveConfig.SlaveMode = TIM_SLAVEMODE_GATED;
  sSlaveConfig.InputTrigger = TIM_TS_ITR0;
  if (HAL_TIM_SlaveConfigSynchro(&htim2, &sSlaveConfig) != HAL_OK)
  {
    Error_Handler();
  }
  sMasterConfig.MasterOutputTrigger = TIM_TRGO_OC2REF;
  sMasterConfig.MasterSlaveMode = TIM_MASTERSLAVEMODE_ENABLE;
  if (HAL_TIMEx_MasterConfigSynchronization(&htim2, &sMasterConfig) != HAL_OK)
  {
    Error_Handler();
  }
  sConfigOC.OCMode = TIM_OCMODE_TOGGLE;
  sConfigOC.Pulse = 0;
  sConfigOC.OCPolarity = TIM_OCPOLARITY_HIGH;
  sConfigOC.OCFastMode = TIM_OCFAST_DISABLE;
  if (HAL_TIM_OC_ConfigChannel(&htim2, &sConfigOC, TIM_CHANNEL_2) != HAL_OK)
  {
    Error_Handler();
  }
  /* USER CODE BEGIN TIM2_Init 2 */

	HAL_TIM_PWM_Start(&htim2, TIM_CHANNEL_1);
	HAL_TIM_PWM_Start(&htim2, TIM_CHANNEL_2);
	HAL_TIMEx_PWMN_Start(&htim2, TIM_CHANNEL_1);
	HAL_TIMEx_PWMN_Start(&htim2, TIM_CHANNEL_2);

	// offset reading adc vs phase status // 0 -> 2000
	//TIM2->CCR2 = 500;
	TIM2->CCR2 = tim2_ccr2;

	// OCLK test
	// 600 :
	// 575 : ko
	// 550 : ko
	// 500 : ko
	// 450 : ko

	// compilation need 'optimize' in settings
	// 0x00 = strange noise
	// 0x05 = strange noise
	// 0x10 = nice
	// 0x10 = nicer

  /* USER CODE END TIM2_Init 2 */

}

static void MX_TIM3_Init(void)
{

  TIM_ClockConfigTypeDef sClockSourceConfig = {0};
  TIM_MasterConfigTypeDef sMasterConfig = {0};

  htim3.Instance = TIM3;
  htim3.Init.Prescaler = 0;
  htim3.Init.CounterMode = TIM_COUNTERMODE_UP;
  htim3.Init.Period = 64000000 / 2 / PWM_FREQ;
  htim3.Init.ClockDivision = TIM_CLOCKDIVISION_DIV1;
  htim3.Init.AutoReloadPreload = TIM_AUTORELOAD_PRELOAD_ENABLE;
  if (HAL_TIM_Base_Init(&htim3) != HAL_OK)
  {
    Error_Handler();
  }
  sClockSourceConfig.ClockSource = TIM_CLOCKSOURCE_INTERNAL;
  if (HAL_TIM_ConfigClockSource(&htim3, &sClockSourceConfig) != HAL_OK)
  {
    Error_Handler();
  }
  sMasterConfig.MasterOutputTrigger = TIM_TRGO_OC2REF;
  sMasterConfig.MasterSlaveMode = TIM_MASTERSLAVEMODE_ENABLE;
  if (HAL_TIMEx_MasterConfigSynchronization(&htim3, &sMasterConfig) != HAL_OK)
  {
    Error_Handler();
  }
  /* USER CODE BEGIN TIM3_Init 2 */

	htim3.Instance->RCR = 1;

	__HAL_TIM_ENABLE(&htim3);

  /* USER CODE END TIM3_Init 2 */

}

static void MX_USART1_UART_Init(void)
{

  huart1.Instance = USART1;
  huart1.Init.BaudRate = 115200;
  huart1.Init.WordLength = UART_WORDLENGTH_8B;
  huart1.Init.StopBits = UART_STOPBITS_1;
  huart1.Init.Parity = UART_PARITY_NONE;
  huart1.Init.Mode = UART_MODE_TX_RX;
  huart1.Init.HwFlowCtl = UART_HWCONTROL_NONE;
  huart1.Init.OverSampling = UART_OVERSAMPLING_16;
  if (HAL_HalfDuplex_Init(&huart1) != HAL_OK)
  {
    Error_Handler();
  }

}

static void MX_USART3_UART_Init(void)
{

  huart3.Instance = USART3;
  huart3.Init.BaudRate = 115200;
  huart3.Init.WordLength = UART_WORDLENGTH_8B;
  huart3.Init.StopBits = UART_STOPBITS_1;
  huart3.Init.Parity = UART_PARITY_NONE;
  huart3.Init.Mode = UART_MODE_TX_RX;
  huart3.Init.HwFlowCtl = UART_HWCONTROL_NONE;
  huart3.Init.OverSampling = UART_OVERSAMPLING_16;
  if (HAL_UART_Init(&huart3) != HAL_OK)
  {
    Error_Handler();
  }

}

static void MX_DMA_Init(void)
{

  /* DMA controller clock enable */
  __HAL_RCC_DMA1_CLK_ENABLE();

  /* DMA interrupt init */
  /* DMA1_Channel1_IRQn interrupt configuration */
  HAL_NVIC_SetPriority(DMA1_Channel1_IRQn, 0, 0);
  HAL_NVIC_EnableIRQ(DMA1_Channel1_IRQn);
  /* DMA1_Channel2_IRQn interrupt configuration */
  HAL_NVIC_SetPriority(DMA1_Channel2_IRQn, 0, 0);
  HAL_NVIC_EnableIRQ(DMA1_Channel2_IRQn);
  /* DMA1_Channel3_IRQn interrupt configuration */
  HAL_NVIC_SetPriority(DMA1_Channel3_IRQn, 0, 0);
  HAL_NVIC_EnableIRQ(DMA1_Channel3_IRQn);
  /* DMA1_Channel4_IRQn interrupt configuration */
  HAL_NVIC_SetPriority(DMA1_Channel4_IRQn, 0, 0);
  HAL_NVIC_EnableIRQ(DMA1_Channel4_IRQn);
  /* DMA1_Channel5_IRQn interrupt configuration */
  HAL_NVIC_SetPriority(DMA1_Channel5_IRQn, 0, 0);
  HAL_NVIC_EnableIRQ(DMA1_Channel5_IRQn);

}

static void MX_GPIO_Init(void)
{
  GPIO_InitTypeDef GPIO_InitStruct = {0};

  /* GPIO Ports Clock Enable */
  __HAL_RCC_GPIOC_CLK_ENABLE();
  __HAL_RCC_GPIOD_CLK_ENABLE();
  __HAL_RCC_GPIOA_CLK_ENABLE();
  __HAL_RCC_GPIOB_CLK_ENABLE();

  /*Configure GPIO pin Output Level */
  HAL_GPIO_WritePin(TPS_ENA_GPIO_Port, TPS_ENA_Pin, GPIO_PIN_SET);

  /*Configure GPIO pin Output Level */
  HAL_GPIO_WritePin(LED_GPIO_Port, LED_Pin, GPIO_PIN_RESET);

  /*Configure GPIO pin Output Level */
  HAL_GPIO_WritePin(LIGHT_GPIO_Port, LIGHT_Pin, GPIO_PIN_RESET);

  /*Configure GPIO pin : PWR_BTN_Pin */
  GPIO_InitStruct.Pin = PWR_BTN_Pin;
  GPIO_InitStruct.Mode = GPIO_MODE_INPUT;
  GPIO_InitStruct.Pull = GPIO_NOPULL;
  HAL_GPIO_Init(PWR_BTN_GPIO_Port, &GPIO_InitStruct);

  /*Configure GPIO pin : TPS_ENA_Pin */
  GPIO_InitStruct.Pin = TPS_ENA_Pin;
  GPIO_InitStruct.Mode = GPIO_MODE_OUTPUT_PP;
  GPIO_InitStruct.Pull = GPIO_NOPULL;
  GPIO_InitStruct.Speed = GPIO_SPEED_FREQ_LOW;
  HAL_GPIO_Init(TPS_ENA_GPIO_Port, &GPIO_InitStruct);

  /*Configure GPIO pin : LED_Pin */
  GPIO_InitStruct.Pin = LED_Pin;
  GPIO_InitStruct.Mode = GPIO_MODE_OUTPUT_PP;
  GPIO_InitStruct.Pull = GPIO_NOPULL;
  GPIO_InitStruct.Speed = GPIO_SPEED_FREQ_LOW;
  HAL_GPIO_Init(LED_GPIO_Port, &GPIO_InitStruct);

  /*Configure GPIO pins : HALL_C_Pin HALL_A_Pin HALL_B_Pin */
  GPIO_InitStruct.Pin = HALL_C_Pin|HALL_A_Pin|HALL_B_Pin;
  GPIO_InitStruct.Mode = GPIO_MODE_INPUT;
  GPIO_InitStruct.Pull = GPIO_NOPULL;
  HAL_GPIO_Init(GPIOB, &GPIO_InitStruct);

  /*Configure GPIO pin : LIGHT_Pin */
  GPIO_InitStruct.Pin = LIGHT_Pin;
  GPIO_InitStruct.Mode = GPIO_MODE_OUTPUT_PP;
  GPIO_InitStruct.Pull = GPIO_NOPULL;
  GPIO_InitStruct.Speed = GPIO_SPEED_FREQ_LOW;
  HAL_GPIO_Init(LIGHT_GPIO_Port, &GPIO_InitStruct);

  /*Configure peripheral I/O remapping */
  __HAL_AFIO_REMAP_PD01_ENABLE();

}

 /**
  * @brief  Period elapsed callback in non blocking mode
  * @note   This function is called  when TIM4 interrupt took place, inside
  * HAL_TIM_IRQHandler(). It makes a direct call to HAL_IncTick() to increment
  * a global variable "uwTick" used as application time base.
  * @param  htim : TIM handle
  * @retval None
  */
void HAL_TIM_PeriodElapsedCallback(TIM_HandleTypeDef *htim)
{
  if (htim->Instance == TIM4) {
    HAL_IncTick();
  }
}

void Error_Handler(void)
{
	__disable_irq();
	while (1) {
	}
}

/************************ (C) COPYRIGHT STMicroelectronics *****END OF FILE****/
